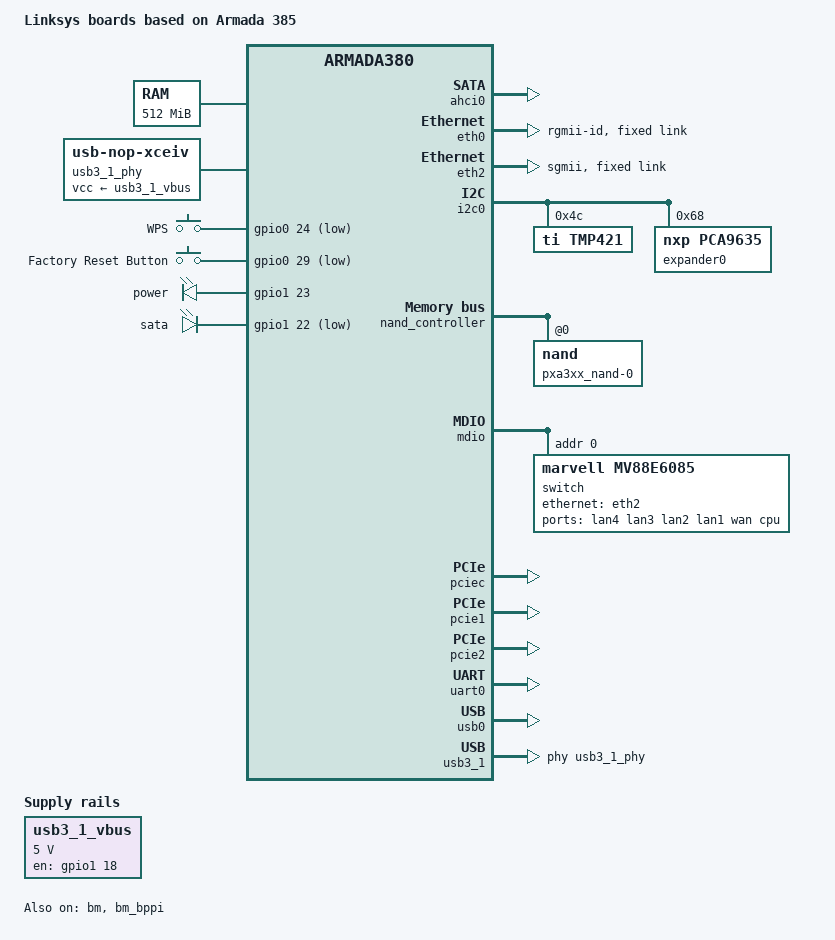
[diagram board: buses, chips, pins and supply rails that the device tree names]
// SPDX-License-Identifier: (GPL-2.0 OR MIT)
/*
 * Device Tree include file for Armada 385 based Linksys boards
 *
 * Copyright (C) 2015 Imre Kaloz <kaloz@openwrt.org>
 */

#include <dt-bindings/gpio/gpio.h>
#include <dt-bindings/input/input.h>
#include "armada-385.dtsi"

/ {
	model = "Linksys boards based on Armada 385";
	compatible = "linksys,armada385", "marvell,armada385",
		     "marvell,armada380";

	chosen {
		stdout-path = "serial0:115200n8";
	};

	memory {
		device_type = "memory";
		reg = <0x00000000 0x20000000>; /* 512 MiB */
	};

	soc {
		ranges = <MBUS_ID(0xf0, 0x01) 0 0xf1000000 0x100000
			  MBUS_ID(0x01, 0x1d) 0 0xfff00000 0x100000
			  MBUS_ID(0x09, 0x19) 0 0xf1100000 0x10000
			  MBUS_ID(0x09, 0x15) 0 0xf1110000 0x10000
			  MBUS_ID(0x0c, 0x04) 0 0xf1200000 0x100000>;
	};

	usb3_1_phy: usb3_1-phy {
		compatible = "usb-nop-xceiv";
		vcc-supply = <&usb3_1_vbus>;
		#phy-cells = <0>;
	};

	usb3_1_vbus: usb3_1-vbus {
		compatible = "regulator-fixed";
		pinctrl-names = "default";
		pinctrl-0 = <&usb3_1_vbus_pins>;
		regulator-name = "usb3_1-vbus";
		regulator-min-microvolt = <5000000>;
		regulator-max-microvolt = <5000000>;
		enable-active-high;
		gpio = <&gpio1 18 GPIO_ACTIVE_HIGH>;
	};

	gpio_keys: gpio-keys {
		compatible = "gpio-keys";
		pinctrl-0 = <&gpio_keys_pins>;
		pinctrl-names = "default";

		wps {
			label = "WPS";
			linux,code = <KEY_WPS_BUTTON>;
			gpios = <&gpio0 24 GPIO_ACTIVE_LOW>;
		};

		reset {
			label = "Factory Reset Button";
			linux,code = <KEY_RESTART>;
			gpios = <&gpio0 29 GPIO_ACTIVE_LOW>;
		};
	};

	gpio_leds: gpio-leds {
		compatible = "gpio-leds";
		pinctrl-0 = <&gpio_leds_pins>;
		pinctrl-names = "default";

		power {
			gpios = <&gpio1 23 GPIO_ACTIVE_HIGH>;
			default-state = "on";
		};

		sata {
			gpios = <&gpio1 22 GPIO_ACTIVE_LOW>;
			default-state = "off";
			linux,default-trigger = "disk-activity";
		};
	};
};

&ahci0 {
	status = "okay";
};

&bm {
	status = "okay";
};

&bm_bppi {
	status = "okay";
};

&eth0 {
	status = "okay";
	phy-mode = "rgmii-id";
	buffer-manager = <&bm>;
	bm,pool-long = <0>;
	bm,pool-short = <1>;
	fixed-link {
		speed = <1000>;
		full-duplex;
	};
};

&eth2 {
	status = "okay";
	phy-mode = "sgmii";
	buffer-manager = <&bm>;
	bm,pool-long = <2>;
	bm,pool-short = <3>;
	fixed-link {
		speed = <1000>;
		full-duplex;
	};
};

&i2c0 {
	pinctrl-names = "default";
	pinctrl-0 = <&i2c0_pins>;
	status = "okay";

	tmp421@4c {
		compatible = "ti,tmp421";
		reg = <0x4c>;
	};

	expander0: pca9635@68 {
		#address-cells = <1>;
		#size-cells = <0>;
		compatible = "nxp,pca9635";
		reg = <0x68>;
	};
};

&nand_controller {
	/* 128MiB or 256MiB */
	status = "okay";
	#address-cells = <1>;
	#size-cells = <0>;

	nand: nand@0 {
		reg = <0>;
		label = "pxa3xx_nand-0";
		nand-rb = <0>;
		nand-ecc-strength = <4>;
		nand-ecc-step-size = <512>;
		marvell,nand-keep-config;
		nand-on-flash-bbt;
	};
};

&mdio {
	status = "okay";

	switch@0 {
		compatible = "marvell,mv88e6085";
		#address-cells = <1>;
		#size-cells = <0>;
		reg = <0>;

		ports {
			#address-cells = <1>;
			#size-cells = <0>;

			port@0 {
				reg = <0>;
				label = "lan4";
			};

			port@1 {
				reg = <1>;
				label = "lan3";
			};

			port@2 {
				reg = <2>;
				label = "lan2";
			};

			port@3 {
				reg = <3>;
				label = "lan1";
			};

			port@4 {
				reg = <4>;
				label = "wan";
			};

			port@5 {
				reg = <5>;
				label = "cpu";
				ethernet = <&eth2>;

				fixed-link {
					speed = <1000>;
					full-duplex;
				};
			};
		};
	};
};

&pciec {
	status = "okay";
};

&pcie1 {
	/* Marvell 88W8864, 5GHz-only */
	status = "okay";
};

&pcie2 {
	/* Marvell 88W8864, 2GHz-only */
	status = "okay";
};

&pinctrl {
	gpio_keys_pins: gpio-keys-pins {
		/* mpp24: wps, mpp29: reset */
		marvell,pins = "mpp24", "mpp29";
		marvell,function = "gpio";
	};

	gpio_leds_pins: gpio-leds-pins {
		/* mpp54: sata, mpp55: power */
		marvell,pins = "mpp54", "mpp55";
		marvell,function = "gpio";
	};

	usb3_1_vbus_pins: usb3_1-vbus-pins {
		marvell,pins = "mpp50";
		marvell,function = "gpio";
	};
};

&spi0 {
	status = "disabled";
};

&uart0 {
	/* J10: VCC, NC, RX, NC, TX, GND  */
	status = "okay";
};

&usb0 {
	/* USB part of the eSATA/USB 2.0 port */
	status = "okay";
};

&usb3_1 {
	status = "okay";
	usb-phy = <&usb3_1_phy>;
};

&rtc {
	/* No crystal connected to the internal RTC */
	status = "disabled";
};
